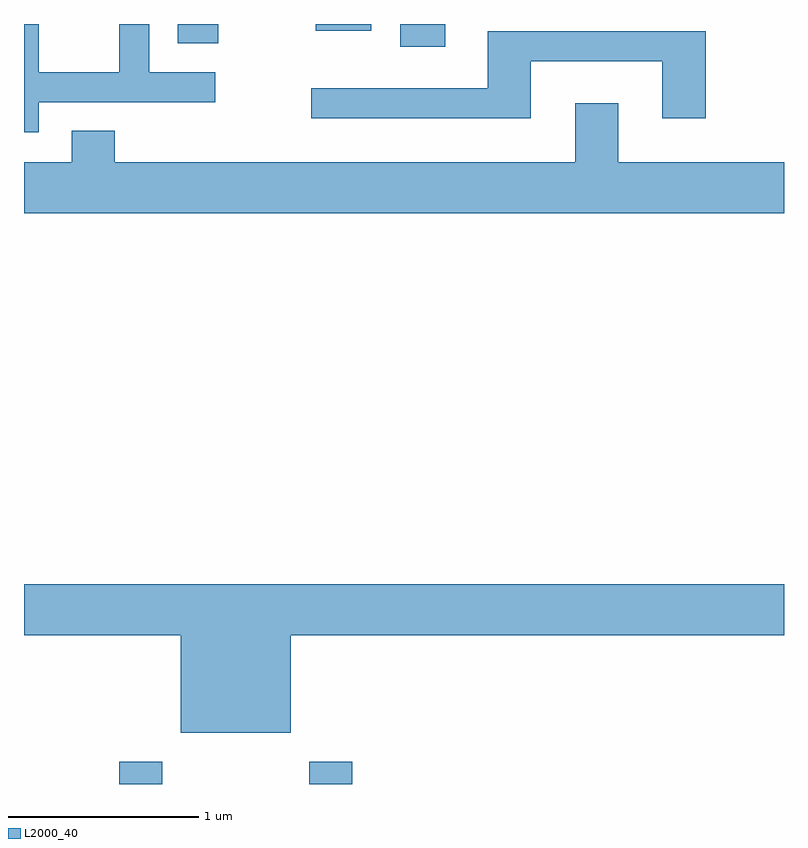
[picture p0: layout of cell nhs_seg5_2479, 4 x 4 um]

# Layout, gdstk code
import gdstk
lib = gdstk.Library(unit=1e-6, precision=1e-09)
def R(c, l, rs):  # rectangles x0, y0, x1, y1
    for r in rs: c.add(gdstk.rectangle(r[:2], r[2:], *l))
def P(c, l, *ps):  # polygons
    for p in ps: c.add(gdstk.Polygon(p, *l))
L2000_40 = (2000, 40)

nhs_seg5_2479 = lib.new_cell('nhs_seg5_2479')
R(nhs_seg5_2479, L2000_40, [(260.111,1396.072,260.339,1396.189), (261.111,1396.072,261.339,1396.189), (261.591,1399.951,261.828,1400.072), (260.421,1399.971,260.634,1400.072), (261.146,1400.036,261.439,1400.072)])
P(nhs_seg5_2479, L2000_40, [(259.689,1399.661),(260.618,1399.661),(260.618,1399.819),(260.269,1399.819),(260.269,1400.072),(260.111,1400.072),(260.111,1399.819),(259.689,1399.819),(259.689,1400.072),(259.611,1400.072),(259.611,1399.501),(259.689,1399.501)],
  [(262.279,1399.876),(262.971,1399.876),(262.971,1399.576),(263.199,1399.576),(263.199,1400.034),(262.051,1400.034),(262.051,1399.734),(261.123,1399.734),(261.123,1399.576),(262.279,1399.576)],
  [(263.611,1399.344),(262.739,1399.344),(262.739,1399.654),(262.511,1399.654),(262.511,1399.344),(260.089,1399.344),(260.089,1399.509),(259.861,1399.509),(259.861,1399.344),(259.611,1399.344),(259.611,1399.076),(263.611,1399.076)],
  [(261.014,1396.856),(263.611,1396.856),(263.611,1397.124),(259.611,1397.124),(259.611,1396.856),(260.436,1396.856),(260.436,1396.341),(261.014,1396.341)])

lib.write_gds('nhs_seg5_2479.gds')
